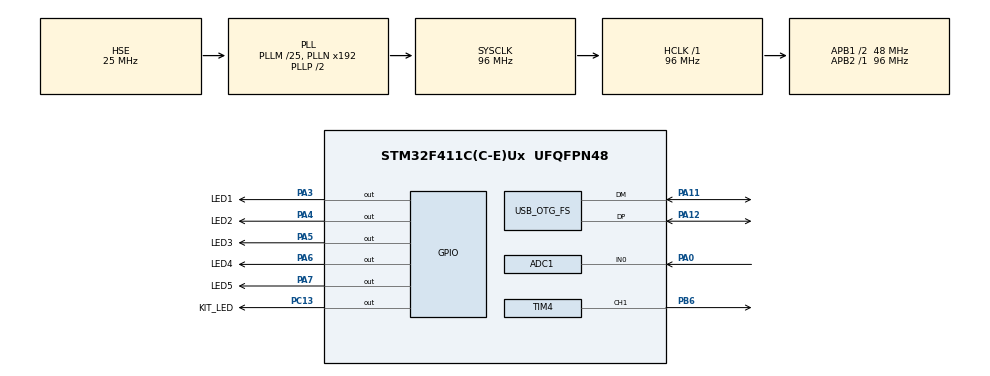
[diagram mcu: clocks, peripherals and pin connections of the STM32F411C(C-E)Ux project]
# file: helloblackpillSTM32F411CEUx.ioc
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ADC1.Channel-0\#ChannelRegularConversion=ADC_CHANNEL_0
ADC1.NbrOfConversionFlag=1
ADC1.Rank-0\#ChannelRegularConversion=1
ADC1.SamplingTime-0\#ChannelRegularConversion=ADC_SAMPLETIME_3CYCLES
ADC1.master=1
Mcu.Family=STM32F4
Mcu.Name=STM32F411C(C-E)Ux
Mcu.Package=UFQFPN48
NVIC.OTG_FS_IRQn=true\:0\:0\:false\:false\:true\:false\:true\:true
NVIC.PriorityGroup=NVIC_PRIORITYGROUP_4
PA0-WKUP.Signal=ADCx_IN0
PA11.Mode=Device_Only
PA11.Signal=USB_OTG_FS_DM
PA12.Mode=Device_Only
PA12.Signal=USB_OTG_FS_DP
PA13.Mode=Serial_Wire
PA13.Signal=SYS_JTMS-SWDIO
PA14.Mode=Serial_Wire
PA14.Signal=SYS_JTCK-SWCLK
PA3.GPIO_Label=LED1
PA3.Signal=GPIO_Output
PA4.GPIO_Label=LED2
PA4.Signal=GPIO_Output
PA5.GPIO_Label=LED3
PA5.Signal=GPIO_Output
PA6.GPIO_Label=LED4
PA6.Signal=GPIO_Output
PA7.GPIO_Label=LED5
PA7.Signal=GPIO_Output
PB6.Signal=S_TIM4_CH1
PC13-ANTI_TAMP.GPIO_Label=KIT_LED
PC13-ANTI_TAMP.Signal=GPIO_Output
PC14-OSC32_IN.Mode=LSE-External-Oscillator
PC14-OSC32_IN.Signal=RCC_OSC32_IN
PC15-OSC32_OUT.Mode=LSE-External-Oscillator
PC15-OSC32_OUT.Signal=RCC_OSC32_OUT
PH0\ -\ OSC_IN.Mode=HSE-External-Oscillator
PH0\ -\ OSC_IN.Signal=RCC_OSC_IN
PH1\ -\ OSC_OUT.Mode=HSE-External-Oscillator
PH1\ -\ OSC_OUT.Signal=RCC_OSC_OUT
ProjectManager.HeapSize=0x200
ProjectManager.StackSize=0x400
ProjectManager.TargetToolchain=Makefile
RCC.48MHZClocksFreq_Value=48000000
RCC.AHBFreq_Value=96000000
RCC.APB1CLKDivider=RCC_HCLK_DIV2
RCC.APB1Freq_Value=48000000
RCC.APB1TimFreq_Value=96000000
RCC.APB2Freq_Value=96000000
RCC.APB2TimFreq_Value=96000000
RCC.CortexFreq_Value=96000000
RCC.HCLKFreq_Value=96000000
RCC.HSE_VALUE=25000000
RCC.HSI_VALUE=16000000
RCC.PLLM=25
RCC.PLLSourceVirtual=RCC_PLLSOURCE_HSE
RCC.SYSCLKFreq_VALUE=96000000
RCC.SYSCLKSource=RCC_SYSCLKSOURCE_PLLCLK
RCC.VCOOutputFreq_Value=192000000
SH.ADCx_IN0.0=ADC1_IN0,IN0
SH.S_TIM4_CH1.0=TIM4_CH1,PWM Generation1 CH1
TIM4.Channel-PWM\ Generation1\ CH1=TIM_CHANNEL_1
TIM4.Period=12000
TIM4.Pulse-PWM\ Generation1\ CH1=12000
USB_DEVICE.CLASS_NAME_FS=CDC
USB_DEVICE.VirtualMode=Cdc
USB_DEVICE.VirtualModeFS=Cdc_FS
USB_OTG_FS.VirtualMode=Device_Only
VP_TIM4_VS_ClockSourceINT.Mode=Internal
VP_USB_DEVICE_VS_USB_DEVICE_CDC_FS.Mode=CDC_FS
board=custom

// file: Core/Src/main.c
/* USER CODE BEGIN Header */
/**
 ******************************************************************************
 * @file           : main.c
 * @brief          : Main program body
 ******************************************************************************
 * @attention
 *
 * Copyright (c) 2022 STMicroelectronics.
 * All rights reserved.
 *
 * This software is licensed under terms that can be found in the LICENSE file
 * in the root directory of this software component.
 * If no LICENSE file comes with this software, it is provided AS-IS.
 *
 ******************************************************************************
 */
/* USER CODE END Header */
#include "main.h"
#include "usb_device.h"
#include "usbd_cdc_if.h"

ADC_HandleTypeDef hadc1;

TIM_HandleTypeDef htim4;

/* USER CODE BEGIN PV */
uint8_t gUSBRxBuffer[255];
/* USER CODE END PV */

void SystemClock_Config(void);
static void MX_GPIO_Init(void);
static void MX_ADC1_Init(void);
static void MX_TIM4_Init(void);

int main(void)
{
  /* USER CODE BEGIN 1 */
  uint32_t j;
  uint32_t i=0;
  uint32_t count=0;
  int32_t read;
  uint8_t buffer[255];
  /* USER CODE END 1 */

  /* MCU Configuration--------------------------------------------------------*/

  /* Reset of all peripherals, Initializes the Flash interface and the Systick. */
  HAL_Init();

  /* Configure the system clock */
  SystemClock_Config();

  /* Initialize all configured peripherals */
  MX_GPIO_Init();
  MX_ADC1_Init();
  MX_USB_DEVICE_Init();
  MX_TIM4_Init();
  /* USER CODE BEGIN 2 */
  HAL_TIM_PWM_Start(&htim4, TIM_CHANNEL_1);
  /* USER CODE END 2 */

  /* Infinite loop */
  while (1)
  {

    /* USER CODE BEGIN 3 */

    HAL_ADC_Start(&hadc1);
    HAL_ADC_PollForConversion(&hadc1,100);
    read = HAL_ADC_GetValue(&hadc1);

    if (read >= 2300)
    {
      HAL_GPIO_WritePin(GPIOA, GPIO_PIN_7, 0);
      HAL_GPIO_WritePin(GPIOA, GPIO_PIN_6, 0);
      HAL_GPIO_WritePin(GPIOA, GPIO_PIN_5, 0);
      HAL_GPIO_WritePin(GPIOA, GPIO_PIN_4, 0);
      HAL_GPIO_WritePin(GPIOA, GPIO_PIN_3, 0);
    }
    else if (read >= 2080 && read < 2300)
    {
      HAL_GPIO_WritePin(GPIOA, GPIO_PIN_7, 0);
      HAL_GPIO_WritePin(GPIOA, GPIO_PIN_6, 0);
      HAL_GPIO_WritePin(GPIOA, GPIO_PIN_5, 0);
      HAL_GPIO_WritePin(GPIOA, GPIO_PIN_4, 0);
      HAL_GPIO_WritePin(GPIOA, GPIO_PIN_3, 1);
    }

    else if ( read >= 1660 && read < 2500)
    {
      HAL_GPIO_WritePin(GPIOA, GPIO_PIN_7, 0);
      HAL_GPIO_WritePin(GPIOA, GPIO_PIN_6, 0);
      HAL_GPIO_WritePin(GPIOA, GPIO_PIN_5, 0);
      HAL_GPIO_WritePin(GPIOA, GPIO_PIN_4, 1);
      HAL_GPIO_WritePin(GPIOA, GPIO_PIN_3, 1);
    }
    else if (read >= 1240 && read < 1660)
    {
      HAL_GPIO_WritePin(GPIOA, GPIO_PIN_7, 0);
      HAL_GPIO_WritePin(GPIOA, GPIO_PIN_6, 0);
      HAL_GPIO_WritePin(GPIOA, GPIO_PIN_5, 1);
      HAL_GPIO_WritePin(GPIOA, GPIO_PIN_4, 1);
      HAL_GPIO_WritePin(GPIOA, GPIO_PIN_3, 1);
    }
    else if (read >= 820 && read < 1240)
    {
      HAL_GPIO_WritePin(GPIOA, GPIO_PIN_7, 0);
      HAL_GPIO_WritePin(GPIOA, GPIO_PIN_6, 1);
      HAL_GPIO_WritePin(GPIOA, GPIO_PIN_5, 1);
      HAL_GPIO_WritePin(GPIOA, GPIO_PIN_4, 1);
      HAL_GPIO_WritePin(GPIOA, GPIO_PIN_3, 1);
    }
    else if (read < 600)
    {
      HAL_GPIO_WritePin(GPIOA, GPIO_PIN_7, 1);
      HAL_GPIO_WritePin(GPIOA, GPIO_PIN_6, 1);
      HAL_GPIO_WritePin(GPIOA, GPIO_PIN_5, 1);
      HAL_GPIO_WritePin(GPIOA, GPIO_PIN_4, 1);
      HAL_GPIO_WritePin(GPIOA, GPIO_PIN_3, 1);
    }
    HAL_Delay(50);

    i++;

      if (i == 20)
    {
      sprintf(buffer, "Digite um comando\r\n",0);
      CDC_Transmit_FS(buffer, strlen(buffer));
      gUSBRxBuffer[0] = 0;
      htim4.Instance->CCR1 = (htim4.Instance->ARR*0);
    }
/*
    count++;
    if(count==50)
    {

      sprintf(buffer, "Tensao no ADC %d mV\r\n", (read * 3300)/4095);
      CDC_Transmit_FS(buffer, strlen(buffer));
      count = 0;
    }*/

    if(gUSBRxBuffer[0]!=0)
    {
      switch (gUSBRxBuffer[0])
      {
      case 84:  //T
        sprintf(buffer, "A tensao sobre o LDR e %d mV\r\n", (read*3300)/4095);
        CDC_Transmit_FS(buffer, strlen(buffer));
        gUSBRxBuffer[0] = 0;
        break;
      case 116:  //t
        sprintf(buffer, "A tensao sobre o LDR e %d mV\r\n", (read*3300)/4095);
        CDC_Transmit_FS(buffer, strlen(buffer));
        gUSBRxBuffer[0] = 0;
        break;
      case 100:  //d
        if (j <= 0)
        {
          j = 0;
          htim4.Instance->CCR1 = (htim4.Instance->ARR*j)/400;
          sprintf(buffer, "O duty cycle atual do PWM eh %d\r\n", j/4);
          CDC_Transmit_FS(buffer, strlen(buffer));
        }
        else if (j > 0)
        {
          j = j - 25;
          htim4.Instance->CCR1 = (htim4.Instance->ARR*j)/400;
          sprintf(buffer, "O duty cycle atual do PWM eh %d\r\n", j/4);
          CDC_Transmit_FS(buffer, strlen(buffer));
        }
        gUSBRxBuffer[0] = 0;
        break;
        case 97:  //a
        if (j >= 400)
        {
          j = 400;
          htim4.Instance->CCR1 = (htim4.Instance->ARR*j)/400;
          sprintf(buffer, "O duty cycle atual do PWM eh %d\r\n", j/4);
          CDC_Transmit_FS(buffer, strlen(buffer));
        }
        else if (j < 400)
        {
          j = j + 25;
          htim4.Instance->CCR1 = (htim4.Instance->ARR*j)/400;
          sprintf(buffer, "O duty cycle atual do PWM eh %d\r\n", j/4);
          CDC_Transmit_FS(buffer, strlen(buffer));
        }
        gUSBRxBuffer[0] = 0;
        break;
      default:
      gUSBRxBuffer[0] = 0;
        break;
  }
  }
  /* USER CODE END 3 */

  }
}

void SystemClock_Config(void)
{
  RCC_OscInitTypeDef RCC_OscInitStruct = {0};
  RCC_ClkInitTypeDef RCC_ClkInitStruct = {0};

  /** Configure the main internal regulator output voltage
  */
  __HAL_RCC_PWR_CLK_ENABLE();
  __HAL_PWR_VOLTAGESCALING_CONFIG(PWR_REGULATOR_VOLTAGE_SCALE1);

  /** Initializes the RCC Oscillators according to the specified parameters
  * in the RCC_OscInitTypeDef structure.
  */
  RCC_OscInitStruct.OscillatorType = RCC_OSCILLATORTYPE_HSE;
  RCC_OscInitStruct.HSEState = RCC_HSE_ON;
  RCC_OscInitStruct.PLL.PLLState = RCC_PLL_ON;
  RCC_OscInitStruct.PLL.PLLSource = RCC_PLLSOURCE_HSE;
  RCC_OscInitStruct.PLL.PLLM = 25;
  RCC_OscInitStruct.PLL.PLLN = 192;
  RCC_OscInitStruct.PLL.PLLP = RCC_PLLP_DIV2;
  RCC_OscInitStruct.PLL.PLLQ = 4;
  if (HAL_RCC_OscConfig(&RCC_OscInitStruct) != HAL_OK)
  {
    Error_Handler();
  }

  /** Initializes the CPU, AHB and APB buses clocks
  */
  RCC_ClkInitStruct.ClockType = RCC_CLOCKTYPE_HCLK|RCC_CLOCKTYPE_SYSCLK
                              |RCC_CLOCKTYPE_PCLK1|RCC_CLOCKTYPE_PCLK2;
  RCC_ClkInitStruct.SYSCLKSource = RCC_SYSCLKSOURCE_PLLCLK;
  RCC_ClkInitStruct.AHBCLKDivider = RCC_SYSCLK_DIV1;
  RCC_ClkInitStruct.APB1CLKDivider = RCC_HCLK_DIV2;
  RCC_ClkInitStruct.APB2CLKDivider = RCC_HCLK_DIV1;

  if (HAL_RCC_ClockConfig(&RCC_ClkInitStruct, FLASH_LATENCY_3) != HAL_OK)
  {
    Error_Handler();
  }
}

static void MX_ADC1_Init(void)
{

  ADC_ChannelConfTypeDef sConfig = {0};

  /** Configure the global features of the ADC (Clock, Resolution, Data Alignment and number of conversion)
  */
  hadc1.Instance = ADC1;
  hadc1.Init.ClockPrescaler = ADC_CLOCK_SYNC_PCLK_DIV4;
  hadc1.Init.Resolution = ADC_RESOLUTION_12B;
  hadc1.Init.ScanConvMode = DISABLE;
  hadc1.Init.ContinuousConvMode = DISABLE;
  hadc1.Init.DiscontinuousConvMode = DISABLE;
  hadc1.Init.ExternalTrigConvEdge = ADC_EXTERNALTRIGCONVEDGE_NONE;
  hadc1.Init.ExternalTrigConv = ADC_SOFTWARE_START;
  hadc1.Init.DataAlign = ADC_DATAALIGN_RIGHT;
  hadc1.Init.NbrOfConversion = 1;
  hadc1.Init.DMAContinuousRequests = DISABLE;
  hadc1.Init.EOCSelection = ADC_EOC_SINGLE_CONV;
  if (HAL_ADC_Init(&hadc1) != HAL_OK)
  {
    Error_Handler();
  }

  /** Configure for the selected ADC regular channel its corresponding rank in the sequencer and its sample time.
  */
  sConfig.Channel = ADC_CHANNEL_0;
  sConfig.Rank = 1;
  sConfig.SamplingTime = ADC_SAMPLETIME_3CYCLES;
  if (HAL_ADC_ConfigChannel(&hadc1, &sConfig) != HAL_OK)
  {
    Error_Handler();
  }

}

static void MX_TIM4_Init(void)
{

  TIM_ClockConfigTypeDef sClockSourceConfig = {0};
  TIM_MasterConfigTypeDef sMasterConfig = {0};
  TIM_OC_InitTypeDef sConfigOC = {0};

  htim4.Instance = TIM4;
  htim4.Init.Prescaler = 0;
  htim4.Init.CounterMode = TIM_COUNTERMODE_UP;
  htim4.Init.Period = 12000;
  htim4.Init.ClockDivision = TIM_CLOCKDIVISION_DIV1;
  htim4.Init.AutoReloadPreload = TIM_AUTORELOAD_PRELOAD_DISABLE;
  if (HAL_TIM_Base_Init(&htim4) != HAL_OK)
  {
    Error_Handler();
  }
  sClockSourceConfig.ClockSource = TIM_CLOCKSOURCE_INTERNAL;
  if (HAL_TIM_ConfigClockSource(&htim4, &sClockSourceConfig) != HAL_OK)
  {
    Error_Handler();
  }
  if (HAL_TIM_PWM_Init(&htim4) != HAL_OK)
  {
    Error_Handler();
  }
  sMasterConfig.MasterOutputTrigger = TIM_TRGO_RESET;
  sMasterConfig.MasterSlaveMode = TIM_MASTERSLAVEMODE_DISABLE;
  if (HAL_TIMEx_MasterConfigSynchronization(&htim4, &sMasterConfig) != HAL_OK)
  {
    Error_Handler();
  }
  sConfigOC.OCMode = TIM_OCMODE_PWM1;
  sConfigOC.Pulse = 12000;
  sConfigOC.OCPolarity = TIM_OCPOLARITY_HIGH;
  sConfigOC.OCFastMode = TIM_OCFAST_DISABLE;
  if (HAL_TIM_PWM_ConfigChannel(&htim4, &sConfigOC, TIM_CHANNEL_1) != HAL_OK)
  {
    Error_Handler();
  }
  HAL_TIM_MspPostInit(&htim4);

}

static void MX_GPIO_Init(void)
{
  GPIO_InitTypeDef GPIO_InitStruct = {0};

  /* GPIO Ports Clock Enable */
  __HAL_RCC_GPIOC_CLK_ENABLE();
  __HAL_RCC_GPIOH_CLK_ENABLE();
  __HAL_RCC_GPIOA_CLK_ENABLE();
  __HAL_RCC_GPIOB_CLK_ENABLE();

  /*Configure GPIO pin Output Level */
  HAL_GPIO_WritePin(KIT_LED_GPIO_Port, KIT_LED_Pin, GPIO_PIN_RESET);

  /*Configure GPIO pin Output Level */
  HAL_GPIO_WritePin(GPIOA, LED1_Pin|LED2_Pin|LED3_Pin|LED4_Pin
                          |LED5_Pin, GPIO_PIN_RESET);

  /*Configure GPIO pin : KIT_LED_Pin */
  GPIO_InitStruct.Pin = KIT_LED_Pin;
  GPIO_InitStruct.Mode = GPIO_MODE_OUTPUT_PP;
  GPIO_InitStruct.Pull = GPIO_NOPULL;
  GPIO_InitStruct.Speed = GPIO_SPEED_FREQ_LOW;
  HAL_GPIO_Init(KIT_LED_GPIO_Port, &GPIO_InitStruct);

  /*Configure GPIO pins : LED1_Pin LED2_Pin LED3_Pin LED4_Pin
                           LED5_Pin */
  GPIO_InitStruct.Pin = LED1_Pin|LED2_Pin|LED3_Pin|LED4_Pin
                          |LED5_Pin;
  GPIO_InitStruct.Mode = GPIO_MODE_OUTPUT_PP;
  GPIO_InitStruct.Pull = GPIO_NOPULL;
  GPIO_InitStruct.Speed = GPIO_SPEED_FREQ_LOW;
  HAL_GPIO_Init(GPIOA, &GPIO_InitStruct);

}

void Error_Handler(void)
{
  __disable_irq();
  while (1)
  {
  }
}
